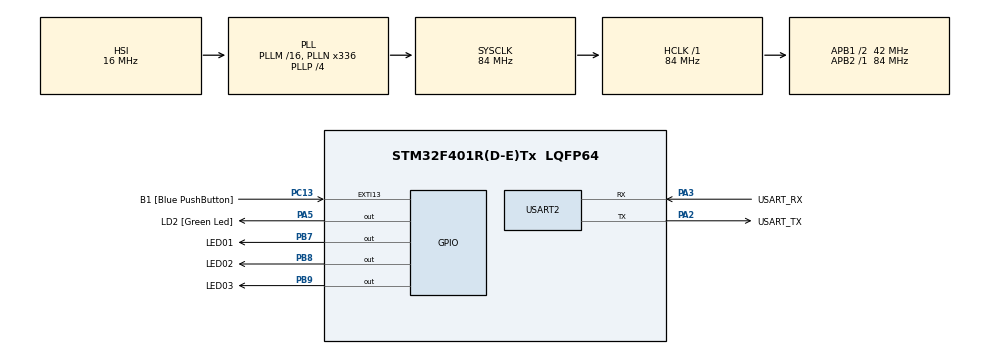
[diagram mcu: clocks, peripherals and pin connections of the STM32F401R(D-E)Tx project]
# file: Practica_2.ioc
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Mcu.Family=STM32F4
Mcu.Name=STM32F401R(D-E)Tx
Mcu.Package=LQFP64
NVIC.PriorityGroup=NVIC_PRIORITYGROUP_0
PA13.GPIO_Label=TMS
PA13.Mode=Serial_Wire
PA13.Signal=SYS_JTMS-SWDIO
PA14.GPIO_Label=TCK
PA14.Mode=Serial_Wire
PA14.Signal=SYS_JTCK-SWCLK
PA2.GPIO_Label=USART_TX
PA2.GPIO_Mode=GPIO_MODE_AF_PP
PA2.GPIO_PuPd=GPIO_NOPULL
PA2.GPIO_Speed=GPIO_SPEED_FREQ_LOW
PA2.Mode=Asynchronous
PA2.Signal=USART2_TX
PA3.GPIO_Label=USART_RX
PA3.GPIO_Mode=GPIO_MODE_AF_PP
PA3.GPIO_PuPd=GPIO_NOPULL
PA3.GPIO_Speed=GPIO_SPEED_FREQ_LOW
PA3.Mode=Asynchronous
PA3.Signal=USART2_RX
PA5.GPIO_Label=LD2 [Green Led]
PA5.GPIO_Mode=GPIO_MODE_OUTPUT_PP
PA5.GPIO_PuPd=GPIO_NOPULL
PA5.GPIO_Speed=GPIO_SPEED_FREQ_LOW
PA5.Signal=GPIO_Output
PB3.GPIO_Label=SWO
PB3.Signal=SYS_JTDO-SWO
PB7.GPIO_Label=LED01
PB7.Signal=GPIO_Output
PB8.GPIO_Label=LED02
PB8.Signal=GPIO_Output
PB9.GPIO_Label=LED03
PB9.Signal=GPIO_Output
PC13-ANTI_TAMP.GPIO_Label=B1 [Blue PushButton]
PC13-ANTI_TAMP.GPIO_ModeDefaultEXTI=GPIO_MODE_IT_FALLING
PC13-ANTI_TAMP.GPIO_PuPd=GPIO_NOPULL
PC13-ANTI_TAMP.Signal=GPXTI13
PC14-OSC32_IN.Mode=LSE-External-Oscillator
PC14-OSC32_IN.Signal=RCC_OSC32_IN
PC15-OSC32_OUT.Mode=LSE-External-Oscillator
PC15-OSC32_OUT.Signal=RCC_OSC32_OUT
PH0\ -\ OSC_IN.Mode=HSE-External-Clock-Source
PH0\ -\ OSC_IN.Signal=RCC_OSC_IN
PH1\ -\ OSC_OUT.Mode=HSE-External-Clock-Source
PH1\ -\ OSC_OUT.Signal=RCC_OSC_OUT
ProjectManager.HeapSize=0x200
ProjectManager.StackSize=0x400
ProjectManager.TargetToolchain=STM32CubeIDE
RCC.48MHZClocksFreq_Value=48000000
RCC.AHBFreq_Value=84000000
RCC.APB1CLKDivider=RCC_HCLK_DIV2
RCC.APB1Freq_Value=42000000
RCC.APB1TimFreq_Value=84000000
RCC.APB2Freq_Value=84000000
RCC.APB2TimFreq_Value=84000000
RCC.CortexFreq_Value=84000000
RCC.HCLKFreq_Value=84000000
RCC.HSE_VALUE=8000000
RCC.HSI_VALUE=16000000
RCC.PLLN=336
RCC.PLLP=RCC_PLLP_DIV4
RCC.PLLQ=7
RCC.SYSCLKFreq_VALUE=84000000
RCC.SYSCLKSource=RCC_SYSCLKSOURCE_PLLCLK
RCC.VCOOutputFreq_Value=336000000
USART2.VirtualMode=VM_ASYNC
board=NUCLEO-F401RE

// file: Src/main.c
/* USER CODE BEGIN Header */
/**
  ******************************************************************************
  * @file           : main.c
  * @brief          : Main program body
  ******************************************************************************
  * @attention
  *
  * Copyright (c) 2023 STMicroelectronics.
  * All rights reserved.
  *
  * This software is licensed under terms that can be found in the LICENSE file
  * in the root directory of this software component.
  * If no LICENSE file comes with this software, it is provided AS-IS.
  *
  ******************************************************************************
  */
/* USER CODE END Header */
#include "main.h"

UART_HandleTypeDef huart2;

void SystemClock_Config(void);
static void MX_GPIO_Init(void);
static void MX_USART2_UART_Init(void);

int main(void)
{

  /* MCU Configuration--------------------------------------------------------*/

  /* Reset of all peripherals, Initializes the Flash interface and the Systick. */
  HAL_Init();

  /* Configure the system clock */
  SystemClock_Config();

  /* Initialize all configured peripherals */
  MX_GPIO_Init();
  MX_USART2_UART_Init();
  /* USER CODE BEGIN 2 */

  // ********************************************************************************************************
  // Defino vector de 3 elementos con las direcciones de los pines 7, 8 y 9 del port GPIOB
  // pin 7 -> Led01  /  pin 8 -> Led02  /  pin 9 -> Led03
  // Las direcciones se encuentran definidas en Drivers/STM32F4xx_HAL_Driver/Inc/STM32F4xx_hal_gpio.h
  // Inicializo las 3 salidas del port GPIOB en 0
  // ********************************************************************************************************
  short int i=0;
  uint16_t Led[CANT] = {0x0080 , 0x0100 , 0x0200};
  for(i=0;i<CANT;i++)
  {
	  HAL_GPIO_WritePin(GPIOB, Led[i], 0);
  }

  // ********************************************************************************************************
  // Defino 3 retardos con sus respectivas duraciones: 250 ms , 500 ms , 1000 ms
  // ********************************************************************************************************
  delay_t retardo[CANT];
  tick_t duration[CANT] = {250 , 500 , 1000};

  for(i=0;i<CANT;i++)
  {
	  delayInit(&retardo[i], duration[i]);
  }

  /* USER CODE END 2 */

  /* Infinite loop */
  /* USER CODE BEGIN WHILE */
  while (1)
  {
	  for(i=0;i<CANT;i++)
	  {
		  if(delayRead(&retardo[i]))
			  HAL_GPIO_TogglePin(GPIOB, Led[i]);
	  }
  }
  /* USER CODE END 3 */
}

void SystemClock_Config(void)
{
  RCC_OscInitTypeDef RCC_OscInitStruct = {0};
  RCC_ClkInitTypeDef RCC_ClkInitStruct = {0};

  /** Configure the main internal regulator output voltage
  */
  __HAL_RCC_PWR_CLK_ENABLE();
  __HAL_PWR_VOLTAGESCALING_CONFIG(PWR_REGULATOR_VOLTAGE_SCALE2);

  /** Initializes the RCC Oscillators according to the specified parameters
  * in the RCC_OscInitTypeDef structure.
  */
  RCC_OscInitStruct.OscillatorType = RCC_OSCILLATORTYPE_HSI;
  RCC_OscInitStruct.HSIState = RCC_HSI_ON;
  RCC_OscInitStruct.HSICalibrationValue = RCC_HSICALIBRATION_DEFAULT;
  RCC_OscInitStruct.PLL.PLLState = RCC_PLL_ON;
  RCC_OscInitStruct.PLL.PLLSource = RCC_PLLSOURCE_HSI;
  RCC_OscInitStruct.PLL.PLLM = 16;
  RCC_OscInitStruct.PLL.PLLN = 336;
  RCC_OscInitStruct.PLL.PLLP = RCC_PLLP_DIV4;
  RCC_OscInitStruct.PLL.PLLQ = 7;
  if (HAL_RCC_OscConfig(&RCC_OscInitStruct) != HAL_OK)
  {
    Error_Handler();
  }

  /** Initializes the CPU, AHB and APB buses clocks
  */
  RCC_ClkInitStruct.ClockType = RCC_CLOCKTYPE_HCLK|RCC_CLOCKTYPE_SYSCLK
                              |RCC_CLOCKTYPE_PCLK1|RCC_CLOCKTYPE_PCLK2;
  RCC_ClkInitStruct.SYSCLKSource = RCC_SYSCLKSOURCE_PLLCLK;
  RCC_ClkInitStruct.AHBCLKDivider = RCC_SYSCLK_DIV1;
  RCC_ClkInitStruct.APB1CLKDivider = RCC_HCLK_DIV2;
  RCC_ClkInitStruct.APB2CLKDivider = RCC_HCLK_DIV1;

  if (HAL_RCC_ClockConfig(&RCC_ClkInitStruct, FLASH_LATENCY_2) != HAL_OK)
  {
    Error_Handler();
  }
}

static void MX_USART2_UART_Init(void)
{

  huart2.Instance = USART2;
  huart2.Init.BaudRate = 115200;
  huart2.Init.WordLength = UART_WORDLENGTH_8B;
  huart2.Init.StopBits = UART_STOPBITS_1;
  huart2.Init.Parity = UART_PARITY_NONE;
  huart2.Init.Mode = UART_MODE_TX_RX;
  huart2.Init.HwFlowCtl = UART_HWCONTROL_NONE;
  huart2.Init.OverSampling = UART_OVERSAMPLING_16;
  if (HAL_UART_Init(&huart2) != HAL_OK)
  {
    Error_Handler();
  }

}

static void MX_GPIO_Init(void)
{
  GPIO_InitTypeDef GPIO_InitStruct = {0};

  /* GPIO Ports Clock Enable */
  __HAL_RCC_GPIOC_CLK_ENABLE();
  __HAL_RCC_GPIOH_CLK_ENABLE();
  __HAL_RCC_GPIOA_CLK_ENABLE();
  __HAL_RCC_GPIOB_CLK_ENABLE();

  /*Configure GPIO pin Output Level */
  HAL_GPIO_WritePin(LD2_GPIO_Port, LD2_Pin, GPIO_PIN_RESET);

  /*Configure GPIO pin Output Level */
  HAL_GPIO_WritePin(GPIOB, LED01_Pin|LED02_Pin|LED03_Pin, GPIO_PIN_RESET);

  /*Configure GPIO pin : B1_Pin */
  GPIO_InitStruct.Pin = B1_Pin;
  GPIO_InitStruct.Mode = GPIO_MODE_IT_FALLING;
  GPIO_InitStruct.Pull = GPIO_NOPULL;
  HAL_GPIO_Init(B1_GPIO_Port, &GPIO_InitStruct);

  /*Configure GPIO pin : LD2_Pin */
  GPIO_InitStruct.Pin = LD2_Pin;
  GPIO_InitStruct.Mode = GPIO_MODE_OUTPUT_PP;
  GPIO_InitStruct.Pull = GPIO_NOPULL;
  GPIO_InitStruct.Speed = GPIO_SPEED_FREQ_LOW;
  HAL_GPIO_Init(LD2_GPIO_Port, &GPIO_InitStruct);

  /*Configure GPIO pins : LED01_Pin LED02_Pin LED03_Pin */
  GPIO_InitStruct.Pin = LED01_Pin|LED02_Pin|LED03_Pin;
  GPIO_InitStruct.Mode = GPIO_MODE_OUTPUT_PP;
  GPIO_InitStruct.Pull = GPIO_NOPULL;
  GPIO_InitStruct.Speed = GPIO_SPEED_FREQ_LOW;
  HAL_GPIO_Init(GPIOB, &GPIO_InitStruct);

}

/* USER CODE BEGIN 4 */
//*******************************************************************************************************************
// delayInit: Inicializa retardo cargando su valor en [ms] y su flag running en 0
//*******************************************************************************************************************
void delayInit( delay_t * delay, tick_t duration )
{
	if(delay != NULL )
	{
		delay->running = false;
		if(duration > DURATION_MAX)
			duration = DURATION_MAX;
		if(duration < DURATION_MIN)
			duration = DURATION_MIN;
		delay->duration = duration;
	}
}

//*******************************************************************************************************************
// delayRead: Implementa el retardo.
// 			  Si el retardo no esta corriendo lo pone a correr
//			  Si el retardo esta corriendo compara el tiempo trancurrido y devuelve true si el tiempo se ha cumplido
//*******************************************************************************************************************
bool_t delayRead( delay_t * delay )
{
	bool_t time_end = false;
	if(delay != NULL)
	{
		if(delay->running == false)
		{
			delay->running = true;
			delay->startTime = HAL_GetTick();
		}
		else
		{
			if((HAL_GetTick() - delay->startTime) >= delay->duration)
			{
				delay->running = false;
				time_end = true;
			}
		}
	}
	return time_end;
}

//*******************************************************************************************************************
// delayWrite: Cambia el tiempo de duracion de un retardo existente
//*******************************************************************************************************************
void delayWrite( delay_t * delay, tick_t duration )
{
	if(delay != NULL)
	{
		if(duration > DURATION_MAX)
			duration = DURATION_MAX;
		if(duration < DURATION_MIN)
			duration = DURATION_MIN;
		delay->duration = duration;
	}
}
/* USER CODE END 4 */

void Error_Handler(void)
{
  /* USER CODE BEGIN Error_Handler_Debug */
  /* User can add his own implementation to report the HAL error return state */
  __disable_irq();
  //BSP_LED_On(LED2);
  while (1)
  {
  }
  /* USER CODE END Error_Handler_Debug */
}
